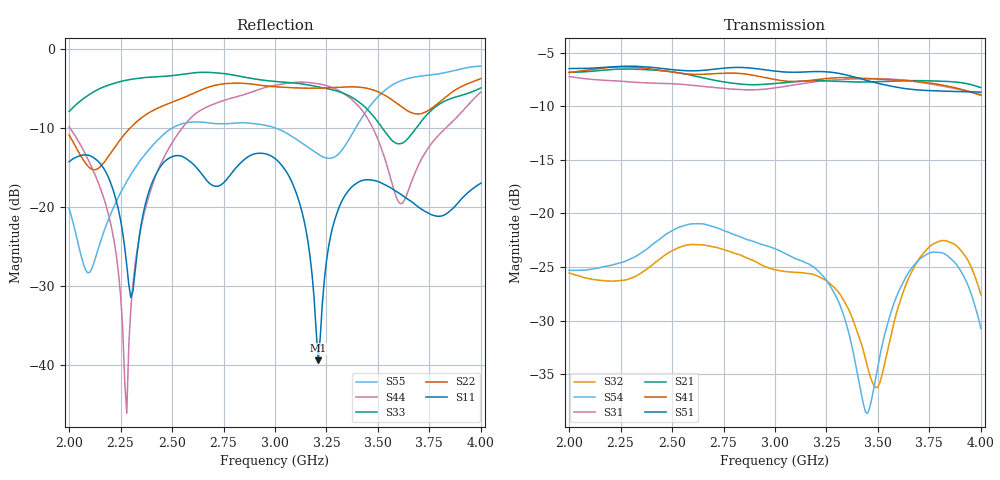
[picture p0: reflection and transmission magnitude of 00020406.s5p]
! Created with skrf 1.8.0 (http://scikit-rf.org).
# Hz S RI R 50.0
!freq ReS11 ImS11 ReS12 ImS12 ReS13 ImS13
! ReS14 ImS14 ReS15 ImS15
! ReS21 ImS21 ReS22 ImS22 ReS23 ImS23
! ReS24 ImS24 ReS25 ImS25
! ReS31 ImS31 ReS32 ImS32 ReS33 ImS33
! ReS34 ImS34 ReS35 ImS35
! ReS41 ImS41 ReS42 ImS42 ReS43 ImS43
! ReS44 ImS44 ReS45 ImS45
! ReS51 ImS51 ReS52 ImS52 ReS53 ImS53
! ReS54 ImS54 ReS55 ImS55
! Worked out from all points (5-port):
!   201 points, 2 GHz to 4 GHz, reference 50 ohm
!   strongest paths, dB at 2 GHz, 2.5 GHz, 3 GHz, 3.5 GHz, 4 GHz:
!     S51: -6.5, -6.6, -6.7, -7.9, -8.7
!     S41: -6.9, -6.8, -7.5, -7.5, -9.0
!     S21: -6.8, -6.8, -7.9, -7.7, -8.3
!     S31: -7.2, -7.9, -8.3, -7.4, -8.9
!     S54: -25.3, -21.6, -23.3, -34.3, -30.7
!     S32: -25.5, -23.5, -25.3, -36.2, -27.6
!   lowest |S11| = -39.4 dB at 3.21 GHz (marker M1), VSWR 1.02, Z = 49.8 + j1.04 ohm
!   |S11| at or under -10 dB: start of sweep to end of sweep
